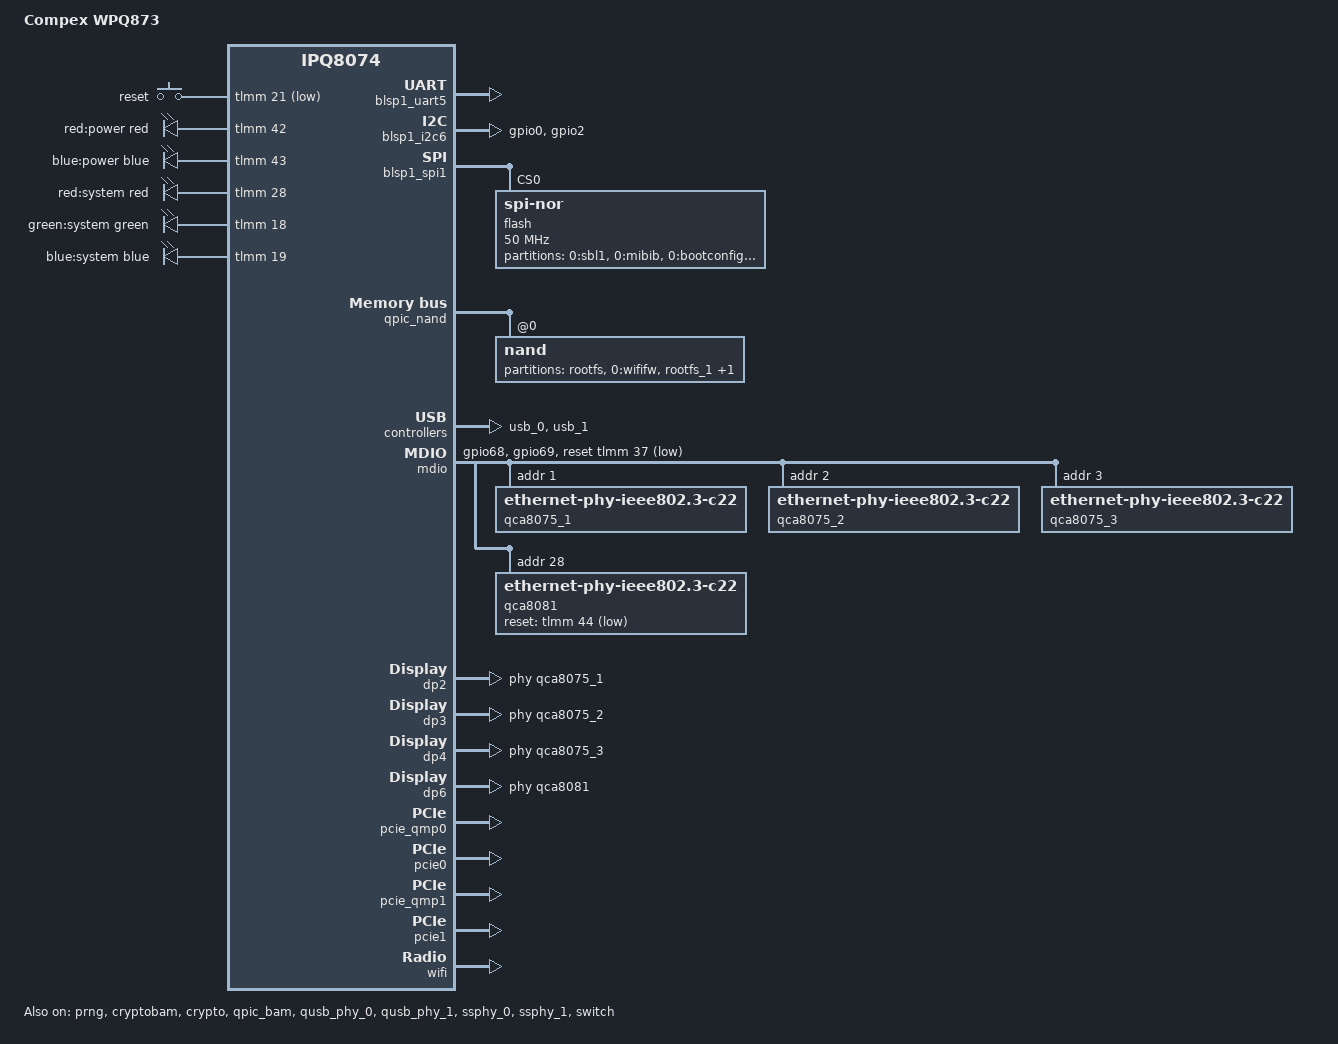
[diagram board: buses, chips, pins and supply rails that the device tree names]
// SPDX-License-Identifier: GPL-2.0-or-later OR MIT
/* Copyright 2023 Nokia */

/dts-v1/;

#include "ipq8074.dtsi"
#include "ipq8074-hk-cpu.dtsi"
#include "ipq8074-ess.dtsi"
#include "ipq8074-nss.dtsi"
#include <dt-bindings/gpio/gpio.h>
#include <dt-bindings/input/input.h>
#include <dt-bindings/leds/common.h>

/ {
	model = "Compex WPQ873";
	compatible = "compex,wpq873", "qcom,ipq8074";

	aliases {
		serial0 = &blsp1_uart5;
		led-boot = &led_power_blue;
		led-failsafe = &led_power_red;
		led-running = &led_system_green;
		led-upgrade = &led_system_blue;
		/* Aliases as required by u-boot to patch MAC addresses */
		ethernet0 = &dp6;
		ethernet1 = &dp2;
		ethernet2 = &dp3;
		ethernet3 = &dp4;
		label-mac-device = &dp6;
	};

	chosen {
		stdout-path = "serial0:115200n8";
		bootargs-append = " root=/dev/ubiblock0_1";
	};

	keys {
		compatible = "gpio-keys";

		reset {
			label = "reset";
			gpios = <&tlmm 21 GPIO_ACTIVE_LOW>;
			linux,code = <KEY_RESTART>;
		};
	};

	leds {
		compatible = "gpio-leds";

		led_power_red: power-red {
			label = "red:power";
			gpios = <&tlmm 42 GPIO_ACTIVE_HIGH>;
			color = <LED_COLOR_ID_RED>;
		};

		led_power_blue: power-blue {
			label = "blue:power";
			gpios = <&tlmm 43 GPIO_ACTIVE_HIGH>;
			color = <LED_COLOR_ID_BLUE>;
		};

		led_system_red: system-red {
			label = "red:system";
			gpios = <&tlmm 28 GPIO_ACTIVE_HIGH>;
			color = <LED_COLOR_ID_RED>;
		};

		led_system_green: system-green {
			label = "green:system";
			gpios = <&tlmm 18 GPIO_ACTIVE_HIGH>;
			color = <LED_COLOR_ID_GREEN>;
		};

		led_system_blue: system-blue {
			label = "blue:system";
			gpios = <&tlmm 19 GPIO_ACTIVE_HIGH>;
			color = <LED_COLOR_ID_BLUE>;
		};
	};
};

&tlmm {
	mdio_pins: mdio-pins {
		mdc {
			pins = "gpio68";
			function = "mdc";
			drive-strength = <8>;
			bias-pull-up;
		};

		mdio {
			pins = "gpio69";
			function = "mdio";
			drive-strength = <8>;
			bias-pull-up;
		};
	};

	i2c_pins: i2c-pins {
		pins = "gpio0", "gpio2";
		function = "blsp5_i2c";
		drive-strength = <8>;
		bias-disable;
	};
};

&blsp1_uart5 {
	status = "okay";
};

&blsp1_i2c6 {
	status = "okay";

	pinctrl-0 = <&i2c_pins>;
	pinctrl-names = "default";
};

&prng {
	status = "okay";
};

&cryptobam {
	status = "okay";
};

&crypto {
	status = "okay";
};

&qpic_bam {
	status = "okay";
};

&blsp1_spi1 {
	status = "okay";
};

&tlmm {
	mdio_pins: mdio-pins {
		mdc {
			pins = "gpio68";
			function = "mdc";
			drive-strength = <8>;
			bias-pull-up;
		};

		mdio {
			pins = "gpio69";
			function = "mdio";
			drive-strength = <8>;
			bias-pull-up;
		};
	};

	button_pins: button_pins {
		reset_button {
			pins = "gpio66";
			function = "gpio";
			drive-strength = <8>;
			bias-pull-up;
		};
	};
};

&blsp1_spi1 {
	status = "okay";

	flash@0 {
		#address-cells = <1>;
		#size-cells = <1>;
		reg = <0>;
		compatible = "jedec,spi-nor";
		spi-max-frequency = <50000000>;

		partitions {
			compatible = "fixed-partitions";
			#address-cells = <1>;
			#size-cells = <1>;

			partition@0 {
				label = "0:sbl1";
				reg = <0x0 0x50000>;
				read-only;
			};

			partition@50000 {
				label = "0:mibib";
				reg = <0x50000 0x10000>;
				read-only;
			};

			partition@60000 {
				label = "0:bootconfig";
				reg = <0x60000 0x20000>;
				read-only;
			};

			partition@80000 {
				label = "0:bootconfig1";
				reg = <0x80000 0x20000>;
				read-only;
			};

			partition@a0000 {
				label = "0:qsee";
				reg = <0xa0000 0x180000>;
				read-only;
			};

			partition@220000 {
				label = "0:qsee_1";
				reg = <0x220000 0x180000>;
				read-only;
			};

			partition@3a0000 {
				label = "0:devcfg";
				reg = <0x3a0000 0x10000>;
				read-only;
			};

			partition@3b0000 {
				label = "0:devcfg_1";
				reg = <0x3b0000 0x10000>;
				read-only;
			};

			partition@3c0000 {
				label = "0:apdp";
				reg = <0x3c0000 0x10000>;
				read-only;
			};

			partition@3d0000 {
				label = "0:apdp_1";
				reg = <0x3d0000 0x10000>;
				read-only;
			};

			partition@3e0000 {
				label = "0:rpm";
				reg = <0x3e0000 0x40000>;
				read-only;
			};

			partition@420000 {
				label = "0:rpm_1";
				reg = <0x420000 0x40000>;
				read-only;
			};

			partition@460000 {
				label = "0:cdt";
				reg = <0x460000 0x10000>;
				read-only;
			};

			partition@470000 {
				label = "0:cdt_1";
				reg = <0x470000 0x10000>;
				read-only;
			};

			partition@480000 {
				label = "0:appsblenv";
				reg = <0x480000 0x10000>;
			};

			partition@490000 {
				label = "0:appsbl";
				reg = <0x490000 0xa0000>;
				read-only;
			};

			partition@550000 {
				label = "0:appsbl_1";
				reg = <0x530000 0xa0000>;
				read-only;
			};

			partition@610000 {
				label = "0:art";
				reg = <0x5d0000 0x40000>;
				read-only;
			};

			partition@650000 {
				label = "0:ethphyfw";
				reg = <0x610000 0x80000>;
				read-only;
			};
		};
	};
};

&qpic_nand {
	status = "okay";

	nand@0 {
		reg = <0>;
		nand-ecc-strength = <8>;
		nand-ecc-step-size = <512>;
		nand-bus-width = <8>;

		partitions {
			compatible = "fixed-partitions";
			#address-cells = <1>;
			#size-cells = <1>;

			partition@0 {
				label = "rootfs";
				reg = <0x0000000 0x3400000>;
			};

			partition@3400000 {
				label = "0:wififw";
				reg = <0x3400000 0x800000>;
				read-only;
			};

			partition@3c00000 {
				label = "rootfs_1";
				reg = <0x3c00000 0x3400000>;
			};

			partition@7000000 {
				label = "0:wififw_1";
				reg = <0x7000000 0x800000>;
				read-only;
			};
		};
	};
};

&qusb_phy_0 {
	status = "okay";
};

&qusb_phy_1 {
	status = "okay";
};

&ssphy_0 {
	status = "okay";
};

&ssphy_1 {
	status = "okay";
};

&usb_0 {
	status = "okay";
};

&usb_1 {
	status = "okay";
};


&mdio {
	status = "okay";
	pinctrl-0 = <&mdio_pins>;
	pinctrl-names = "default";
	reset-gpios = <&tlmm 37 GPIO_ACTIVE_LOW>;

	qca8075_1: ethernet-phy@1 {
		compatible = "ethernet-phy-ieee802.3-c22";
		reg = <1>;
	};

	qca8075_2: ethernet-phy@2 {
		compatible = "ethernet-phy-ieee802.3-c22";
		reg = <2>;
	};

	qca8075_3: ethernet-phy@3 {
		compatible = "ethernet-phy-ieee802.3-c22";
		reg = <3>;
	};

	qca8081: ethernet-phy@28 {
		compatible = "ethernet-phy-ieee802.3-c22";
		reg = <28>;
		reset-gpios = <&tlmm 44 GPIO_ACTIVE_LOW>;
	};
};

&switch {
	status = "okay";

	switch_cpu_bmp = <0x1>;  /* cpu port bitmap */
	switch_lan_bmp = <0x3e>; /* lan port bitmap */
	switch_wan_bmp = <0x40>; /* wan port bitmap */
	switch_mac_mode = <0x0>; /* mac mode for uniphy instance0*/
	switch_mac_mode1 = <0x0f>; /* mac mode for uniphy instance1*/
	switch_mac_mode2 = <0x0f>; /* mac mode for uniphy instance2*/
	bm_tick_mode = <0>; /* bm tick mode */
	tm_tick_mode = <0>; /* tm tick mode */

	qcom,port_phyinfo {
		port@2 {
			port_id = <2>;
			phy_address = <1>;
		};
		port@3 {
			port_id = <3>;
			phy_address = <2>;
		};
		port@4 {
			port_id = <4>;
			phy_address = <3>;
		};
		port@5 {
			port_id = <6>;
			phy_address = <28>;
			port_mac_sel = "QGMAC_PORT";
		};
	};
};

&edma {
	status = "okay";
};

&dp2 {
	status = "okay";
	phy-handle = <&qca8075_1>;
	label = "lan1";
};

&dp3 {
	status = "okay";
	phy-handle = <&qca8075_2>;
	label = "lan2";
};

&dp4 {
	status = "okay";
	phy-handle = <&qca8075_3>;
	label = "lan3";
};

&dp6 {
	status = "okay";
	phy-handle = <&qca8081>;
	label = "wan";
};

&pcie_qmp0 {
	status = "okay";
};

&pcie0 {
	status = "okay";

	perst-gpio = <&tlmm 58 GPIO_ACTIVE_LOW>;

	bridge@0,0 {
		reg = <0x00020000 0 0 0 0>;
		#address-cells = <3>;
		#size-cells = <2>;
		ranges;
	};
};

&pcie_qmp1 {
	status = "okay";
};

&pcie1 {
	status = "okay";

	perst-gpio = <&tlmm 62 GPIO_ACTIVE_HIGH>;

	bridge@1,0 {
		reg = <0x00010000 0 0 0 0>;
		#address-cells = <3>;
		#size-cells = <2>;
		ranges;
	};
};

&wifi {
	status = "okay";

	qcom,ath11k-calibration-variant = "Compex-WPQ873";
};
